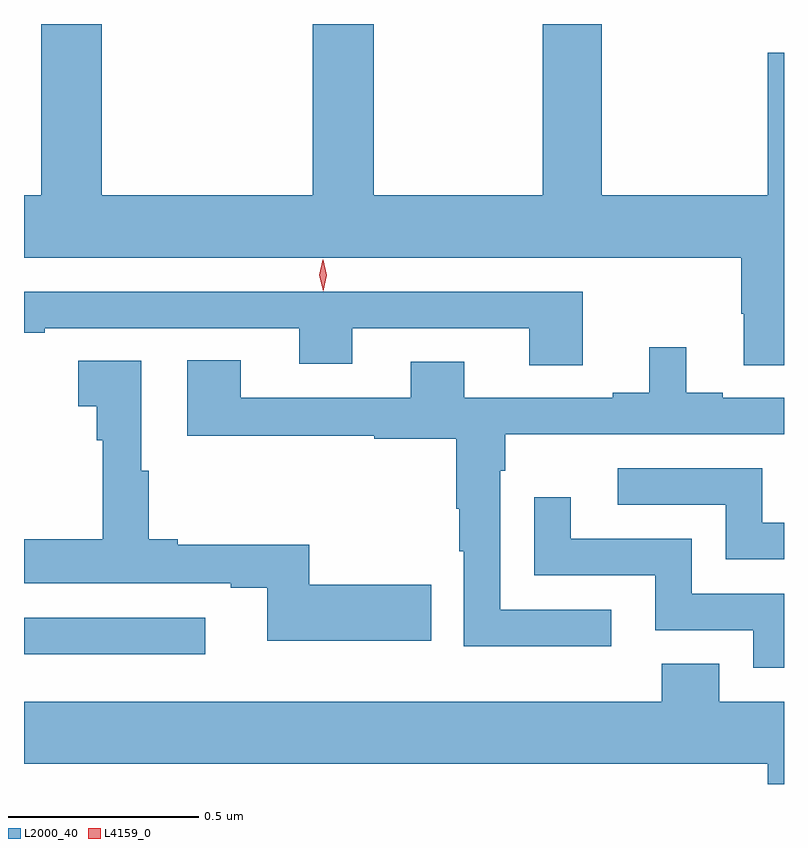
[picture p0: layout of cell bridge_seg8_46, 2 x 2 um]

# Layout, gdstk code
import gdstk
lib = gdstk.Library(unit=1e-6, precision=1e-09)
def R(c, l, rs):  # rectangles x0, y0, x1, y1
    for r in rs: c.add(gdstk.rectangle(r[:2], r[2:], *l))
def P(c, l, *ps):  # polygons
    for p in ps: c.add(gdstk.Polygon(p, *l))
L2000_40 = (2000, 40)
L4159_0 = (4159, 0)

bridge_seg8_46 = lib.new_cell('bridge_seg8_46')
R(bridge_seg8_46, L2000_40, [(882.331,1120.785,882.808,1120.881)])
P(bridge_seg8_46, L2000_40, [(884.331,1122.367),(884.288,1122.367),(884.288,1121.992),(883.851,1121.992),(883.851,1122.443),(883.696,1122.443),(883.696,1121.992),(883.251,1121.992),(883.251,1122.443),(883.091,1122.443),(883.091,1121.992),(882.536,1121.992),(882.536,1122.443),(882.376,1122.443),(882.376,1121.992),(882.331,1121.992),(882.331,1121.828),(884.218,1121.828),(884.218,1121.68),(884.225,1121.68),(884.225,1121.545),(884.331,1121.545)],
  [(883.801,1121.739),(882.331,1121.739),(882.331,1121.631),(882.386,1121.631),(882.386,1121.643),(883.055,1121.643),(883.055,1121.549),(883.195,1121.549),(883.195,1121.643),(883.661,1121.643),(883.661,1121.545),(883.801,1121.545)],
  [(883.876,1120.902),(883.584,1120.902),(883.584,1121.267),(883.597,1121.267),(883.597,1121.364),(884.331,1121.364),(884.331,1121.46),(884.17,1121.46),(884.17,1121.473),(884.074,1121.473),(884.074,1121.593),(883.976,1121.593),(883.976,1121.473),(883.88,1121.473),(883.88,1121.46),(883.489,1121.46),(883.489,1121.554),(883.349,1121.554),(883.349,1121.46),(882.901,1121.46),(882.901,1121.558),(882.761,1121.558),(882.761,1121.359),(883.253,1121.359),(883.253,1121.352),(883.468,1121.352),(883.468,1121.167),(883.476,1121.167),(883.476,1121.056),(883.488,1121.056),(883.488,1120.805),(883.876,1120.805)],
  [(883.403,1120.968),(883.081,1120.968),(883.081,1121.072),(882.736,1121.072),(882.736,1121.087),(882.659,1121.087),(882.659,1121.267),(882.639,1121.267),(882.639,1121.557),(882.474,1121.557),(882.474,1121.437),(882.523,1121.437),(882.523,1121.348),(882.538,1121.348),(882.538,1121.087),(882.331,1121.087),(882.331,1120.971),(882.875,1120.971),(882.875,1120.959),(882.971,1120.959),(882.971,1120.82),(883.403,1120.82)],
  [(884.331,1121.13),(884.274,1121.13),(884.274,1121.274),(883.893,1121.274),(883.893,1121.178),(884.178,1121.178),(884.178,1121.034),(884.331,1121.034)],
  [(884.331,1120.944),(884.088,1120.944),(884.088,1121.088),(883.77,1121.088),(883.77,1121.197),(883.674,1121.197),(883.674,1120.992),(883.992,1120.992),(883.992,1120.848),(884.25,1120.848),(884.25,1120.749),(884.331,1120.749)],
  [(884.331,1120.66),(884.161,1120.66),(884.161,1120.759),(884.009,1120.759),(884.009,1120.66),(882.331,1120.66),(882.331,1120.496),(884.288,1120.496),(884.288,1120.443),(884.331,1120.443)])
P(bridge_seg8_46, L4159_0, [(883.118,1121.74),(883.118,1121.74),(883.108,1121.782),(883.117,1121.823),(883.118,1121.823),(883.118,1121.823),(883.128,1121.782),(883.118,1121.74)])

lib.write_gds('bridge_seg8_46.gds')
